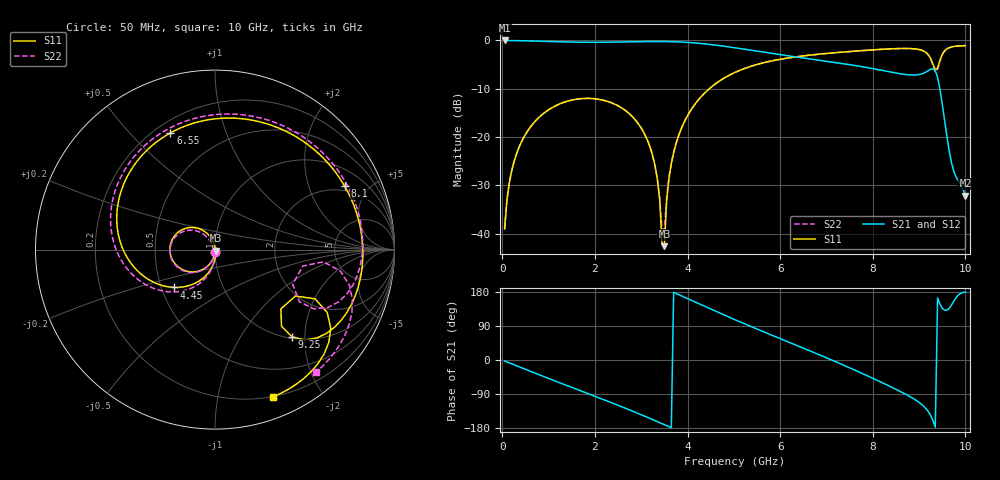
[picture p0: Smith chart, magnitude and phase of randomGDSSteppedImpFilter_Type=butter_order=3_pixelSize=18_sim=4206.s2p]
! freq	dB(S11)	phase(S11)	dB(S12)	phase(S12)
!  dB(S21)	phase(S21)	dB(S22)	phase(S22)
!S-par simulation data
#  GHz  S  DB  R 50
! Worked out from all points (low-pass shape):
!   200 points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, 50 MHz to 10 GHz, reference 50 ohm
!   highest |S21| = 0.00 dB at 50 MHz (marker M1); lowest = -32.1 dB at 10 GHz (marker M2)
!   |S21| within 3 dB of the highest: start of sweep to 6.043 GHz
!   lowest |S11| = -42.6 dB at 3.5 GHz (marker M3), VSWR 1.01, Z = 50.3 - j0.676 ohm
!   |S11| at or under -10 dB: start of sweep to 4.471 GHz
!   |S22| runs from -39.3 to -1.1 dB; largest |S21 - S12| = 0
!   S11 on the Smith chart (normalised r, x): 50 MHz: 1.00, -0.02; 4.45 GHz: 0.58, -0.27; 6.55 GHz: 0.26, +0.66; 8.1 GHz: 1.75, +3.50; 9.25 GHz: 1.03, -1.73; 10 GHz: 0.20, -1.45
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0.05  -39.01 -92.2  -0.00 -2.5  -0.00 -2.5  -39.01 -92.1
0.2  -27.11 -100.3  -0.02 -9.9  -0.02 -9.9  -27.11 -99.9
0.5  -19.47 -115.6  -0.08 -24.6  -0.08 -24.6  -19.47 -114.7
1.75  -12.02 -176.2  -0.38 -84.0  -0.38 -84.0  -12.02 -173.0
2.9  -16.78 126.9  -0.26 -139.3  -0.26 -139.3  -16.78 134.4
3.25  -23.98 107.5  -0.22 -157.4  -0.22 -157.4  -23.98 120.8
3.4  -33.09 96.1  -0.22 -165.3  -0.22 -165.3  -32.81 126.3
3.45  -41.99 80.2  -0.22 -168.0  -0.22 -168.0  -39.26 154.8
3.5  -42.60 -65.1  -0.23 -170.7  -0.23 -170.7  -38.99 -127.7
3.6  -28.53 -86.9  -0.24 -176.1  -0.24 -176.1  -28.22 -96.0
3.75  -21.46 -96.9  -0.29 175.7  -0.29 175.7  -21.35 -97.6
4.45  -10.18 -137.1  -0.79 137.2  -0.79 137.2  -10.15 -131.1
5.05  -6.52 -170.3  -1.56 105.0  -1.56 105.0  -6.50 -161.6
6.55  -3.15 110.9  -3.70 28.9  -3.70 28.9  -3.15 126.0
6.7  -2.99 103.0  -3.90 21.2  -3.90 21.2  -2.99 118.7
8.1  -1.89 26.0  -6.02 -53.9  -6.02 -53.9  -1.90 45.6
8.35  -1.76 11.5  -6.48 -68.3  -6.48 -68.3  -1.77 31.2
8.9  -1.74 -22.4  -7.16 -103.7  -7.16 -103.7  -1.74 -3.4
9.25  -3.75 -48.5  -5.97 -146.4  -5.97 -146.4  -3.85 -30.9
9.45  -4.13 -26.2  -10.10 147.5  -10.10 147.5  -4.32 -6.4
9.7  -1.35 -47.9  -25.34 144.9  -25.34 144.9  -1.35 -29.2
10  -1.09 -68.4  -32.12 179.0  -32.12 179.0  -1.06 -50.5
